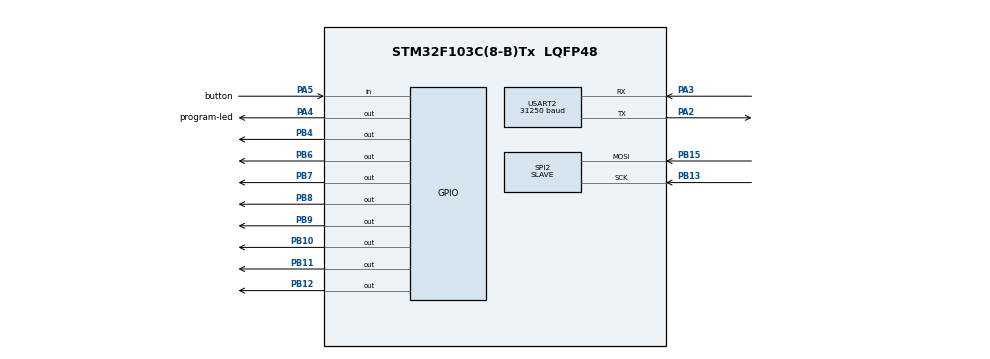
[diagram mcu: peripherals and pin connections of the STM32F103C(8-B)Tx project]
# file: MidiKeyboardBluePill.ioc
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Mcu.Family=STM32F1
Mcu.Name=STM32F103C(8-B)Tx
Mcu.Package=LQFP48
NVIC.PriorityGroup=NVIC_PRIORITYGROUP_4
NVIC.SPI2_IRQn=true\:0\:0\:false\:false\:true\:true\:true\:true
NVIC.USART2_IRQn=true\:1\:0\:true\:false\:true\:true\:true\:true
PA13.Mode=Serial_Wire
PA13.Signal=SYS_JTMS-SWDIO
PA14.Mode=Serial_Wire
PA14.Signal=SYS_JTCK-SWCLK
PA2.Mode=Asynchronous
PA2.Signal=USART2_TX
PA3.Mode=Asynchronous
PA3.Signal=USART2_RX
PA4.GPIO_Label=program-led
PA4.PinState=GPIO_PIN_SET
PA4.Signal=GPIO_Output
PA5.GPIO_Label=button
PA5.GPIO_PuPd=GPIO_PULLUP
PA5.Signal=GPIO_Input
PB10.GPIO_ModeDefaultOutputPP=GPIO_MODE_OUTPUT_PP
PB10.GPIO_PuPd=GPIO_NOPULL
PB10.GPIO_Speed=GPIO_SPEED_FREQ_MEDIUM
PB10.PinState=GPIO_PIN_SET
PB10.Signal=GPIO_Output
PB11.GPIO_ModeDefaultOutputPP=GPIO_MODE_OUTPUT_PP
PB11.GPIO_PuPd=GPIO_NOPULL
PB11.GPIO_Speed=GPIO_SPEED_FREQ_MEDIUM
PB11.PinState=GPIO_PIN_SET
PB11.Signal=GPIO_Output
PB12.GPIO_ModeDefaultOutputPP=GPIO_MODE_OUTPUT_PP
PB12.GPIO_PuPd=GPIO_NOPULL
PB12.GPIO_Speed=GPIO_SPEED_FREQ_MEDIUM
PB12.PinState=GPIO_PIN_SET
PB12.Signal=GPIO_Output
PB13.Mode=RX_Only_Simplex_Unidirect_Slave
PB13.Signal=SPI2_SCK
PB15.Mode=RX_Only_Simplex_Unidirect_Slave
PB15.Signal=SPI2_MOSI
PB4.GPIO_ModeDefaultOutputPP=GPIO_MODE_OUTPUT_PP
PB4.GPIO_PuPd=GPIO_NOPULL
PB4.GPIO_Speed=GPIO_SPEED_FREQ_MEDIUM
PB4.PinState=GPIO_PIN_SET
PB4.Signal=GPIO_Output
PB6.GPIO_ModeDefaultOutputPP=GPIO_MODE_OUTPUT_PP
PB6.GPIO_PuPd=GPIO_NOPULL
PB6.GPIO_Speed=GPIO_SPEED_FREQ_MEDIUM
PB6.PinState=GPIO_PIN_SET
PB6.Signal=GPIO_Output
PB7.GPIO_ModeDefaultOutputPP=GPIO_MODE_OUTPUT_PP
PB7.GPIO_PuPd=GPIO_NOPULL
PB7.GPIO_Speed=GPIO_SPEED_FREQ_MEDIUM
PB7.PinState=GPIO_PIN_SET
PB7.Signal=GPIO_Output
PB8.GPIO_ModeDefaultOutputPP=GPIO_MODE_OUTPUT_PP
PB8.GPIO_PuPd=GPIO_NOPULL
PB8.GPIO_Speed=GPIO_SPEED_FREQ_MEDIUM
PB8.PinState=GPIO_PIN_SET
PB8.Signal=GPIO_Output
PB9.GPIO_ModeDefaultOutputPP=GPIO_MODE_OUTPUT_PP
PB9.GPIO_PuPd=GPIO_NOPULL
PB9.GPIO_Speed=GPIO_SPEED_FREQ_MEDIUM
PB9.PinState=GPIO_PIN_SET
PB9.Signal=GPIO_Output
PD0-OSC_IN.Mode=HSE-External-Oscillator
PD0-OSC_IN.Signal=RCC_OSC_IN
PD1-OSC_OUT.Mode=HSE-External-Oscillator
PD1-OSC_OUT.Signal=RCC_OSC_OUT
ProjectManager.HeapSize=0x200
ProjectManager.StackSize=0x400
ProjectManager.TargetToolchain=Makefile
RCC.AHBFreq_Value=72000000
RCC.APB1CLKDivider=RCC_HCLK_DIV2
RCC.APB1Freq_Value=36000000
RCC.APB1TimFreq_Value=72000000
RCC.APB2Freq_Value=72000000
RCC.APB2TimFreq_Value=72000000
RCC.DATA_CACHE_ENABLE=1
RCC.HCLKFreq_Value=72000000
RCC.INSTRUCTION_CACHE_ENABLE=1
RCC.PLLMUL=RCC_PLL_MUL9
RCC.PLLSourceVirtual=RCC_PLLSOURCE_HSE
RCC.PWREXT_OverDrive=PWREXT_OverDrive_DESACTIVATED
RCC.PWR_Regulator_Voltage_Scale=PWR_REGULATOR_VOLTAGE_SCALE3
RCC.RCC_TIM_PRescaler_Selection=RCC_TIMPRES_DESACTIVATED
RCC.SYSCLKFreq_VALUE=72000000
RCC.SYSCLKSource=RCC_SYSCLKSOURCE_PLLCLK
RCC.USBFreq_Value=72000000
SPI2.CLKPhase=SPI_PHASE_2EDGE
SPI2.CLKPolarity=SPI_POLARITY_HIGH
SPI2.Direction=SPI_DIRECTION_2LINES_RXONLY
SPI2.Mode=SPI_MODE_SLAVE
SPI2.VirtualType=VM_SLAVE
USART2.BaudRate=31250
USART2.Mode=MODE_RX
USART2.VirtualMode=VM_ASYNC
board=NUCLEO-F103RB

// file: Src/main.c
/* USER CODE BEGIN Header */
/**
 * MIDI to Hybrid Music 4000 Converter
 *
 ******************************************************************************
 * @file           : main.c
 * @brief          : Main program body
 ******************************************************************************
 * @attention
 *
 * <h2><center>&copy; Copyright (c) 2019 STMicroelectronics.
 * All rights reserved.</center></h2>
 *
 * This software component is licensed by ST under BSD 3-Clause license,
 * the "License"; You may not use this file except in compliance with the
 * License. You may obtain a copy of the License at:
 *                        opensource.org/licenses/BSD-3-Clause
 *
 *  USER CODE segments
 *  Copyright (C) 2019-2024   Daniel Jameson
 *
 *  This program is free software: you can redistribute it and/or modify
 *  it under the terms of the GNU General Public License as published by
 *  the Free Software Foundation, either version 3 of the License, or
 *  (at your option) any later version.
 *
 *  This program is distributed in the hope that it will be useful,
 *  but WITHOUT ANY WARRANTY; without even the implied warranty of
 *  MERCHANTABILITY or FITNESS FOR A PARTICULAR PURPOSE.  See the
 *  GNU General Public License for more details.
 *
 *  You should have received a copy of the GNU General Public License
 *  along with this program.  If not, see <https://www.gnu.org/licenses/>.
 *
 ******************************************************************************
 * Pins used: Userport PB0-7 (even pins 6-20) are on GPIOs PB4,6-12
 * Userport CB1 (pin 2) -> Clk, GPIO PB13  (SPI2) - add external 10k pullup to 5V
 * Userport CB2 (pin 4) -> MOSI, GPIO PB15 (SPI2)
 * MIDI serial in (3.3V) -> GPIO PA3  (USART2)
 *
 * PA5 - Button (to ground) to program channel,
 * PA4 - LED (active low, 560R to 3.3V) to indicate programming mode
 *
 */

/* USER CODE END Header */
#include "main.h"

/* USER CODE BEGIN Includes */
#include "utilities.h"

/* USER CODE END Includes */

SPI_HandleTypeDef hspi2;

UART_HandleTypeDef huart2;

/* USER CODE BEGIN PV */

/* Set Channel Flag */
volatile uint8_t setChannel = FALSE;
volatile uint8_t ignoreChannel = TRUE;
volatile uint8_t midiChannel = 0;

/* This is the keyboard matrix */
uint8_t keyboardMatrix[8];
volatile uint16_t outputArray[8];

/* Some variables used to calculate the key */
uint8_t m4kZone;
uint8_t m4kNote;
uint8_t rawZone;

/* A temporary integer - probably gets optimised out! */

uint8_t tempInt;

/* midi command and state */
uint8_t midiStatus = 0;
uint8_t midiData1 = 0;
uint8_t midiData2 = 0;
uint8_t state = 0;
uint8_t midiByte = 0;

/* USER CODE END PV */

void SystemClock_Config(void);
static void MX_GPIO_Init(void);
static void MX_USART2_UART_Init(void);
static void MX_SPI2_Init(void);

/* USER CODE BEGIN PFP */
inline void parseMidi(void);
inline void Note_On(uint8_t);
inline void Note_Off(uint8_t);

/* USER CODE END PFP */

int main(void)
{
  /* USER CODE BEGIN 1 */

  uint8_t i = 0;

  /* all keys high to start with */
  for (i = 0; i < 8; i++)
  {
    keyboardMatrix[i] = 255;
    outputArray[i] = 0xffff;
  }

  /* USER CODE END 1 */

  /* MCU Configuration--------------------------------------------------------*/

  /* Reset of all peripherals, Initializes the Flash interface and the Systick. */
  HAL_Init();

  /* Configure the system clock */
  SystemClock_Config();

  /* Initialize all configured peripherals */
  MX_GPIO_Init();
  MX_USART2_UART_Init();
  MX_SPI2_Init();
  /* USER CODE BEGIN 2 */

  /* enable the SPI and UART - not using the HAL read functions so need to turn them on */
  __HAL_SPI_ENABLE(&hspi2);
  __HAL_UART_ENABLE(&huart2);
  /* USER CODE END 2 */

  /* Infinite loop */
  /* USER CODE BEGIN WHILE */
  while (1)
  {

  }

  /* USER CODE END 3 */
}

void SystemClock_Config(void)
{
  RCC_OscInitTypeDef RCC_OscInitStruct = {0};
  RCC_ClkInitTypeDef RCC_ClkInitStruct = {0};

  /** Initializes the RCC Oscillators according to the specified parameters
  * in the RCC_OscInitTypeDef structure.
  */
  RCC_OscInitStruct.OscillatorType = RCC_OSCILLATORTYPE_HSE;
  RCC_OscInitStruct.HSEState = RCC_HSE_ON;
  RCC_OscInitStruct.HSEPredivValue = RCC_HSE_PREDIV_DIV2;
  RCC_OscInitStruct.HSIState = RCC_HSI_ON;
  RCC_OscInitStruct.PLL.PLLState = RCC_PLL_ON;
  RCC_OscInitStruct.PLL.PLLSource = RCC_PLLSOURCE_HSE;
  RCC_OscInitStruct.PLL.PLLMUL = RCC_PLL_MUL9;
  if (HAL_RCC_OscConfig(&RCC_OscInitStruct) != HAL_OK)
  {
    Error_Handler();
  }

  /** Initializes the CPU, AHB and APB buses clocks
  */
  RCC_ClkInitStruct.ClockType = RCC_CLOCKTYPE_HCLK|RCC_CLOCKTYPE_SYSCLK
                              |RCC_CLOCKTYPE_PCLK1|RCC_CLOCKTYPE_PCLK2;
  RCC_ClkInitStruct.SYSCLKSource = RCC_SYSCLKSOURCE_PLLCLK;
  RCC_ClkInitStruct.AHBCLKDivider = RCC_SYSCLK_DIV1;
  RCC_ClkInitStruct.APB1CLKDivider = RCC_HCLK_DIV2;
  RCC_ClkInitStruct.APB2CLKDivider = RCC_HCLK_DIV1;

  if (HAL_RCC_ClockConfig(&RCC_ClkInitStruct, FLASH_LATENCY_1) != HAL_OK)
  {
    Error_Handler();
  }
}

static void MX_SPI2_Init(void)
{

  /* SPI2 parameter configuration*/
  hspi2.Instance = SPI2;
  hspi2.Init.Mode = SPI_MODE_SLAVE;
  hspi2.Init.Direction = SPI_DIRECTION_2LINES_RXONLY;
  hspi2.Init.DataSize = SPI_DATASIZE_8BIT;
  hspi2.Init.CLKPolarity = SPI_POLARITY_HIGH;
  hspi2.Init.CLKPhase = SPI_PHASE_2EDGE;
  hspi2.Init.NSS = SPI_NSS_SOFT;
  hspi2.Init.FirstBit = SPI_FIRSTBIT_MSB;
  hspi2.Init.TIMode = SPI_TIMODE_DISABLE;
  hspi2.Init.CRCCalculation = SPI_CRCCALCULATION_DISABLE;
  hspi2.Init.CRCPolynomial = 10;
  if (HAL_SPI_Init(&hspi2) != HAL_OK)
  {
    Error_Handler();
  }
  /* USER CODE BEGIN SPI2_Init 2 */
  hspi2.Instance->CR2 |= SPI_CR2_RXNEIE;
  /* USER CODE END SPI2_Init 2 */

}

static void MX_USART2_UART_Init(void)
{

  huart2.Instance = USART2;
  huart2.Init.BaudRate = 31250;
  huart2.Init.WordLength = UART_WORDLENGTH_8B;
  huart2.Init.StopBits = UART_STOPBITS_1;
  huart2.Init.Parity = UART_PARITY_NONE;
  huart2.Init.Mode = UART_MODE_RX;
  huart2.Init.HwFlowCtl = UART_HWCONTROL_NONE;
  huart2.Init.OverSampling = UART_OVERSAMPLING_16;
  if (HAL_UART_Init(&huart2) != HAL_OK)
  {
    Error_Handler();
  }
  /* USER CODE BEGIN USART2_Init 2 */
  huart2.Instance->CR1 |= USART_CR1_RXNEIE;

  /* USER CODE END USART2_Init 2 */

}

static void MX_GPIO_Init(void)
{
  GPIO_InitTypeDef GPIO_InitStruct = {0};

  /* GPIO Ports Clock Enable */
  __HAL_RCC_GPIOD_CLK_ENABLE();
  __HAL_RCC_GPIOA_CLK_ENABLE();
  __HAL_RCC_GPIOB_CLK_ENABLE();

  /*Configure GPIO pin Output Level */
  HAL_GPIO_WritePin(program_led_GPIO_Port, program_led_Pin, GPIO_PIN_SET);

  /*Configure GPIO pin Output Level */
  HAL_GPIO_WritePin(GPIOB, GPIO_PIN_10|GPIO_PIN_11|GPIO_PIN_12|GPIO_PIN_4
                          |GPIO_PIN_6|GPIO_PIN_7|GPIO_PIN_8|GPIO_PIN_9, GPIO_PIN_SET);

  /*Configure GPIO pin : program_led_Pin */
  GPIO_InitStruct.Pin = program_led_Pin;
  GPIO_InitStruct.Mode = GPIO_MODE_OUTPUT_PP;
  GPIO_InitStruct.Pull = GPIO_NOPULL;
  GPIO_InitStruct.Speed = GPIO_SPEED_FREQ_LOW;
  HAL_GPIO_Init(program_led_GPIO_Port, &GPIO_InitStruct);

  /*Configure GPIO pin : button_Pin */
  GPIO_InitStruct.Pin = button_Pin;
  GPIO_InitStruct.Mode = GPIO_MODE_INPUT;
  GPIO_InitStruct.Pull = GPIO_PULLUP;
  HAL_GPIO_Init(button_GPIO_Port, &GPIO_InitStruct);

  /*Configure GPIO pins : PB10 PB11 PB12 PB4
                           PB6 PB7 PB8 PB9 */
  GPIO_InitStruct.Pin = GPIO_PIN_10|GPIO_PIN_11|GPIO_PIN_12|GPIO_PIN_4
                          |GPIO_PIN_6|GPIO_PIN_7|GPIO_PIN_8|GPIO_PIN_9;
  GPIO_InitStruct.Mode = GPIO_MODE_OUTPUT_PP;
  GPIO_InitStruct.Pull = GPIO_NOPULL;
  GPIO_InitStruct.Speed = GPIO_SPEED_FREQ_MEDIUM;
  HAL_GPIO_Init(GPIOB, &GPIO_InitStruct);

}

/* USER CODE BEGIN 4 */

inline void parseMidi()
{

  if ((midiChannel == (midiStatus & MIDI_CHANNEL_MASK)) || ignoreChannel)
  {
    switch(midiStatus & MIDI_MASK)
    {
      case MIDI_ON:
        if (setChannel == TRUE)
        {
          midiChannel = midiStatus & MIDI_CHANNEL_MASK;
          setChannel = FALSE;
          ignoreChannel = FALSE;
          HAL_GPIO_WritePin(GPIOA, GPIO_PIN_4, GPIO_PIN_SET);
        }
        if (midiData2)
        {
          Note_On(midiData1);
        }
        else
        {
          /* Velocity 0 is note off */
          Note_Off(midiData1);
        }
        break;

      case MIDI_OFF:
        Note_Off(midiData1);
        break;

      case MIDI_CONT:
        /* Handle the pedal */
        if (midiData1 == MIDI_PED)
        {
          if (midiData2 < 64) {
            keyboardMatrix[PEDAL_ZONE] |= (1 << 6);
           }
           else keyboardMatrix[PEDAL_ZONE] &= ~(1 << 6);
        }
        /* Handle the sound off/notes off control commands - everything off! */
        if (midiData1 == MIDI_SOUND_OFF || midiData1 == MIDI_NOTES_OFF) {
          for (uint_fast8_t i = 36; i<85; i++) {
            Note_Off(i);
          }
        }
        break;

        default:
        break;
    }
  }
  for (uint_fast8_t i = 0; i < 8; i++)
  {
    outputArray[i] = ((uint16_t)keyboardMatrix[i] & 1) << 4 | (uint16_t)keyboardMatrix[i] << 5;
  }
}
/* We're only allowing midi notes between 36 and 84 otherwise
 * we'll overshoot the keyboard matrix array...
 */

/**
 * @brief Set Keyboard Key
 * @param uint_8_t MIDInote
 * @retval None
 */

inline void Note_On(uint8_t note)
{

  /**
   * possibly long winded, but!
   * Bounds check the note, calculate which zone it's in,
   * Invert the zone for the keyboard matrix and then
   * flip the relevant bit.
   */

  if ((note > 35) && (note < 85))
  {
    rawZone = ((note - 36) / 8);
    m4kZone = 7 - rawZone;
    m4kNote = note - 36 - (8 * rawZone);

    keyboardMatrix[m4kZone] &= ~(1 << m4kNote);
  }
}

/**
 * @brief Set Keyboard Key
 * @param uint_8_t MIDInote
 * @retval None
 */

inline void Note_Off(uint8_t note)
{
  if ((note > 35) && (note < 85))
  {
    rawZone = ((note - 36) / 8);
    m4kZone = 7 - rawZone;
    m4kNote = note - 36 - (8 * rawZone);

    keyboardMatrix[m4kZone] |= (1 << m4kNote);
  }
}

/* USER CODE END 4 */

void Error_Handler(void)
{
}
